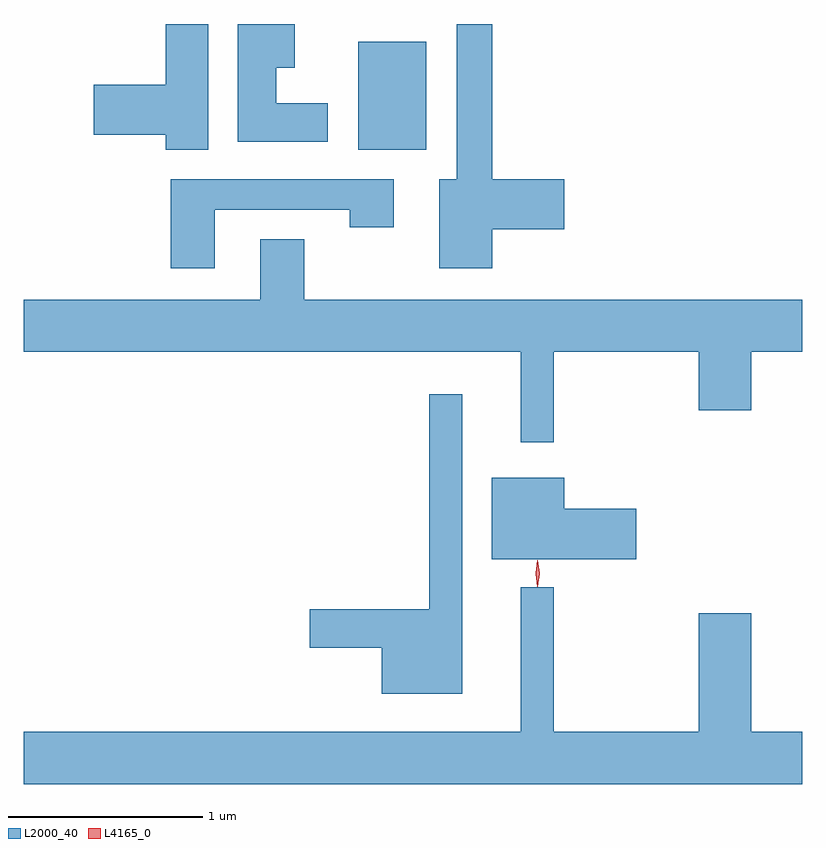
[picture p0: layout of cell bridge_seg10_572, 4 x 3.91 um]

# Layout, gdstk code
import gdstk
lib = gdstk.Library(unit=1e-6, precision=1e-09)
def R(c, l, rs):  # rectangles x0, y0, x1, y1
    for r in rs: c.add(gdstk.rectangle(r[:2], r[2:], *l))
def P(c, l, *ps):  # polygons
    for p in ps: c.add(gdstk.Polygon(p, *l))
L2000_40 = (2000, 40)
L4165_0 = (4165, 0)

bridge_seg10_572 = lib.new_cell('bridge_seg10_572')
R(bridge_seg10_572, L2000_40, [(632.906,2183.776,633.254,2184.329)])
P(bridge_seg10_572, L2000_40, [(632.749,2184.014),(632.484,2184.014),(632.484,2184.196),(632.579,2184.196),(632.579,2184.421),(632.286,2184.421),(632.286,2183.816),(632.749,2183.816)],
  [(632.134,2184.421),(631.916,2184.421),(631.916,2184.109),(631.546,2184.109),(631.546,2183.851),(631.916,2183.851),(631.916,2183.776),(632.134,2183.776)],
  [(633.594,2183.366),(633.964,2183.366),(633.964,2183.624),(633.594,2183.624),(633.594,2184.421),(633.411,2184.421),(633.411,2183.624),(633.321,2183.624),(633.321,2183.166),(633.594,2183.166)],
  [(632.169,2183.466),(632.861,2183.466),(632.861,2183.376),(633.089,2183.376),(633.089,2183.624),(631.941,2183.624),(631.941,2183.166),(632.169,2183.166)],
  [(633.909,2182.736),(634.656,2182.736),(634.656,2182.436),(634.924,2182.436),(634.924,2182.736),(635.187,2182.736),(635.187,2183.004),(632.629,2183.004),(632.629,2183.314),(632.401,2183.314),(632.401,2183.004),(631.187,2183.004),(631.187,2182.736),(633.741,2182.736),(633.741,2182.273),(633.909,2182.273)],
  [(633.439,2182.518),(633.271,2182.518),(633.271,2181.414),(632.656,2181.414),(632.656,2181.216),(633.026,2181.216),(633.026,2180.981),(633.439,2180.981)],
  [(634.334,2181.929),(633.964,2181.929),(633.964,2182.089),(633.591,2182.089),(633.591,2181.671),(634.334,2181.671)],
  [(635.187,2180.784),(634.924,2180.784),(634.924,2181.394),(634.656,2181.394),(634.656,2180.784),(633.909,2180.784),(633.909,2181.528),(633.741,2181.528),(633.741,2180.784),(631.187,2180.784),(631.187,2180.516),(635.187,2180.516)])
P(bridge_seg10_572, L4165_0, [(633.826,2181.533),(633.817,2181.596),(633.826,2181.66),(633.827,2181.66),(633.827,2181.66),(633.837,2181.596),(633.827,2181.533),(633.827,2181.533)],
  [(633.826,2181.53),(633.817,2181.598),(633.826,2181.666),(633.827,2181.666),(633.827,2181.666),(633.837,2181.598),(633.827,2181.53),(633.827,2181.53)])

lib.write_gds('bridge_seg10_572.gds')
